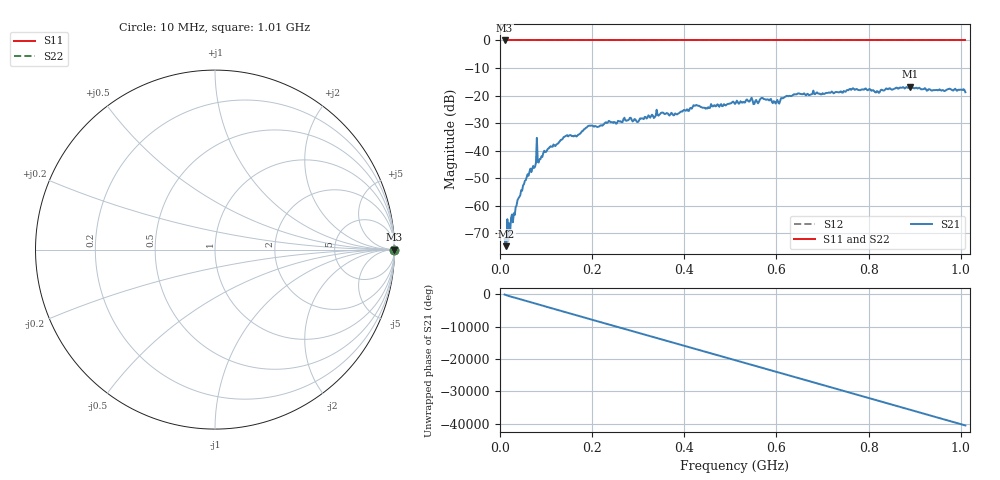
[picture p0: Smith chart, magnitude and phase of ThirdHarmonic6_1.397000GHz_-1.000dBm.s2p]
! 8/16/2025 3:57:21 PM
! C:\ANRITSUVNA\TEMP\TEMP.S2P
! CHANNEL.1
! TR.MEASUREMENT
! RAW.DATA
! RF.CORRECTION.OFF
! AVERAGING.OFF
! IF.BANDWIDTH: 5KHZ
! SWEEPTYPE:  FREQ.SWEEP(Linear)
! Reference Plane Port Info
! PORT:  PORT1  PORT2
! DISTANCE:  0  m  0  m
! TIME:  0  s  0  s
! PHASE.OFFSET:  0  deg.  0  deg.
! LOSS:  0  dB  0  dB
! REF.LOSS:  0  dB  0  dB
! REF.FREQ:  0  Hz  0  Hz
! Power Info
! POWER:  -20  dBm  -20  dBm
! EFF.POWER:  -20  dBm  -20  dBm
! SOURCE.ATTEN:  0  dB  0  dB
! TEST.ATTEN:  0  dB  0  dB
# GHZ S RI R 50.0
! FREQ.GHZ  S11RE  S11IM  S21RE  S21IM  S12RE  S12IM  S22RE  S22IM
!; PortSelection: Port_12
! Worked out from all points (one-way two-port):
!   501 points, 10 MHz to 1.01 GHz, reference 50 ohm
!   highest |S21| = -16.78 dB at 890 MHz (marker M1); lowest = -74.6 dB at 14 MHz (marker M2)
!   lowest |S11| = 0.0 dB at 10 MHz (marker M3)
!   |S11| at or under -10 dB: nowhere
!   |S22| runs from 0.0 to 0.0 dB; largest |S21 - S12| = 1.1
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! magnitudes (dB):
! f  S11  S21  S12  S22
! 10 MHz  0.0  -71.9  0.0  0.0
! 14 MHz  0.0  -74.6  0.0  0.0
! 42 MHz  0.0  -56.7  0.0  0.0
! 62 MHz  0.0  -49.1  0.0  0.0
! 74 MHz  0.0  -46.2  0.0  0.0
! 76 MHz  0.0  -45.9  0.0  0.0
! 142 MHz  0.0  -34.7  0.0  0.0
! 178 MHz  0.0  -32.9  0.0  0.0
! 194 MHz  0.0  -30.9  0.0  0.0
! 298 MHz  0.0  -29.6  0.0  0.0
! 344 MHz  0.0  -27.3  0.0  0.0
! 380 MHz  0.0  -26.5  0.0  0.0
! 424 MHz  0.0  -23.6  0.0  0.0
! 450 MHz  0.0  -24.7  0.0  0.0
! 510 MHz  0.0  -23.0  0.0  0.0
! 570 MHz  0.0  -20.8  0.0  0.0
! 602 MHz  0.0  -21.6  0.0  0.0
! 622 MHz  0.0  -20.1  0.0  0.0
! 678 MHz  0.0  -19.3  0.0  0.0
! 844 MHz  0.0  -17.4  0.0  0.0
! 890 MHz  0.0  -16.8  0.0  0.0
! 1.01 GHz  0.0  -18.8  0.0  0.0
